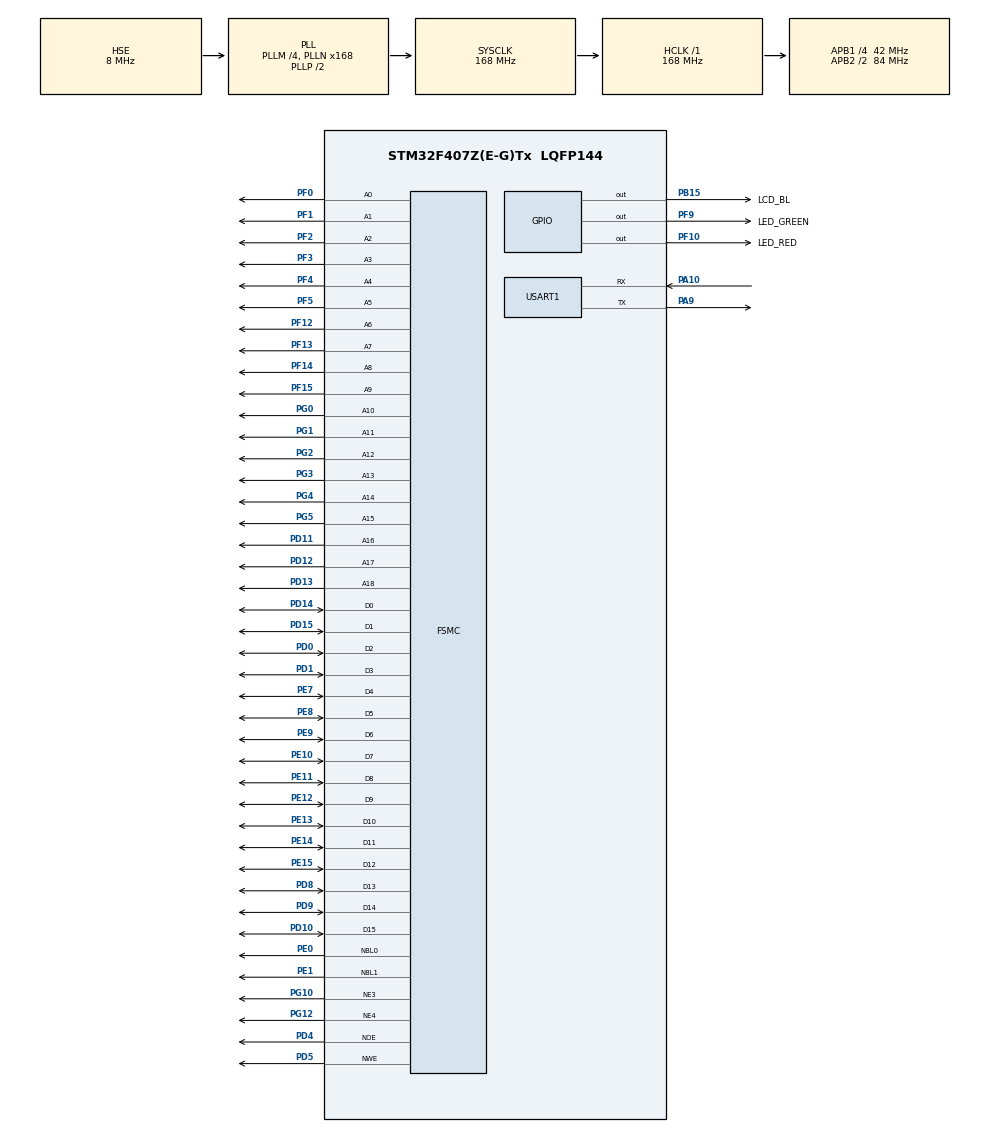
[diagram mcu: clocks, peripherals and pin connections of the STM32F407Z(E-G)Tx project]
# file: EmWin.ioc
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FSMC.AddressSetupTime3=0
FSMC.BusTurnAroundDuration3=0
FSMC.DataSetupTime3=7
FSMC.WriteOperation3=FSMC_WRITE_OPERATION_ENABLE
Mcu.Family=STM32F4
Mcu.Name=STM32F407Z(E-G)Tx
Mcu.Package=LQFP144
NVIC.PriorityGroup=NVIC_PRIORITYGROUP_4
NVIC.TIM3_IRQn=true\:0\:0\:false\:false\:true\:true\:true
NVIC.TIM4_IRQn=true\:0\:0\:false\:false\:true\:true\:true
NVIC.USART1_IRQn=true\:0\:0\:false\:false\:true\:true\:true
PA10.Mode=Asynchronous
PA10.Signal=USART1_RX
PA13.Mode=Serial_Wire
PA13.Signal=SYS_JTMS-SWDIO
PA14.Mode=Serial_Wire
PA14.Signal=SYS_JTCK-SWCLK
PA9.Mode=Asynchronous
PA9.Signal=USART1_TX
PB15.GPIO_Label=LCD_BL
PB15.GPIO_PuPd=GPIO_PULLUP
PB15.GPIO_Speed=GPIO_SPEED_FREQ_HIGH
PB15.PinState=GPIO_PIN_RESET
PB15.Signal=GPIO_Output
PC14-OSC32_IN.Mode=LSE-External-Oscillator
PC14-OSC32_IN.Signal=RCC_OSC32_IN
PC15-OSC32_OUT.Mode=LSE-External-Oscillator
PC15-OSC32_OUT.Signal=RCC_OSC32_OUT
PD0.Signal=FSMC_D2_DA2
PD1.Signal=FSMC_D3_DA3
PD10.Signal=FSMC_D15_DA15
PD11.Signal=FSMC_A16_CLE
PD12.Signal=FSMC_A17_ALE
PD13.Signal=FSMC_A18
PD14.Signal=FSMC_D0_DA0
PD15.Signal=FSMC_D1_DA1
PD4.Signal=FSMC_NOE
PD5.Signal=FSMC_NWE
PD8.Signal=FSMC_D13_DA13
PD9.Signal=FSMC_D14_DA14
PE0.Signal=FSMC_NBL0
PE1.Signal=FSMC_NBL1
PE10.Signal=FSMC_D7_DA7
PE11.Signal=FSMC_D8_DA8
PE12.Signal=FSMC_D9_DA9
PE13.Signal=FSMC_D10_DA10
PE14.Signal=FSMC_D11_DA11
PE15.Signal=FSMC_D12_DA12
PE7.Signal=FSMC_D4_DA4
PE8.Signal=FSMC_D5_DA5
PE9.Signal=FSMC_D6_DA6
PF0.Signal=FSMC_A0
PF1.Signal=FSMC_A1
PF10.GPIO_Label=LED_RED
PF10.GPIO_PuPd=GPIO_PULLUP
PF10.GPIO_Speed=GPIO_SPEED_FREQ_HIGH
PF10.PinState=GPIO_PIN_SET
PF10.Signal=GPIO_Output
PF12.Signal=FSMC_A6
PF13.Signal=FSMC_A7
PF14.Signal=FSMC_A8
PF15.Signal=FSMC_A9
PF2.Signal=FSMC_A2
PF3.Signal=FSMC_A3
PF4.Signal=FSMC_A4
PF5.Signal=FSMC_A5
PF9.GPIO_Label=LED_GREEN
PF9.GPIO_PuPd=GPIO_PULLUP
PF9.GPIO_Speed=GPIO_SPEED_FREQ_HIGH
PF9.PinState=GPIO_PIN_SET
PF9.Signal=GPIO_Output
PG0.Signal=FSMC_A10
PG1.Signal=FSMC_A11
PG10.Mode=NorPsramChipSelect3_3
PG10.Signal=FSMC_NE3
PG12.Mode=NorPsramChipSelect4_1
PG12.Signal=FSMC_NE4
PG2.Signal=FSMC_A12
PG3.Signal=FSMC_A13
PG4.Signal=FSMC_A14
PG5.Signal=FSMC_A15
PH0-OSC_IN.Mode=HSE-External-Oscillator
PH0-OSC_IN.Signal=RCC_OSC_IN
PH1-OSC_OUT.Mode=HSE-External-Oscillator
PH1-OSC_OUT.Signal=RCC_OSC_OUT
ProjectManager.HeapSize=0x200
ProjectManager.StackSize=0x400
ProjectManager.TargetToolchain=MDK-ARM V5
RCC.48MHZClocksFreq_Value=84000000
RCC.AHBFreq_Value=168000000
RCC.APB1CLKDivider=RCC_HCLK_DIV4
RCC.APB1Freq_Value=42000000
RCC.APB1TimFreq_Value=84000000
RCC.APB2CLKDivider=RCC_HCLK_DIV2
RCC.APB2Freq_Value=84000000
RCC.APB2TimFreq_Value=168000000
RCC.CortexFreq_Value=168000000
RCC.HCLKFreq_Value=168000000
RCC.HSE_VALUE=8000000
RCC.HSI_VALUE=16000000
RCC.PLLM=4
RCC.PLLN=168
RCC.PLLSourceVirtual=RCC_PLLSOURCE_HSE
RCC.SYSCLKFreq_VALUE=168000000
RCC.SYSCLKSource=RCC_SYSCLKSOURCE_PLLCLK
RCC.VCOOutputFreq_Value=336000000
SH.FSMC_A0.0=FSMC_A0,19b-a3
SH.FSMC_A1.0=FSMC_A1,19b-a3
SH.FSMC_A10.0=FSMC_A10,19b-a3
SH.FSMC_A11.0=FSMC_A11,19b-a3
SH.FSMC_A12.0=FSMC_A12,19b-a3
SH.FSMC_A13.0=FSMC_A13,19b-a3
SH.FSMC_A14.0=FSMC_A14,19b-a3
SH.FSMC_A15.0=FSMC_A15,19b-a3
SH.FSMC_A16_CLE.0=FSMC_A16,19b-a3
SH.FSMC_A17_ALE.0=FSMC_A17,19b-a3
SH.FSMC_A18.0=FSMC_A18,19b-a3
SH.FSMC_A2.0=FSMC_A2,19b-a3
SH.FSMC_A3.0=FSMC_A3,19b-a3
SH.FSMC_A4.0=FSMC_A4,19b-a3
SH.FSMC_A5.0=FSMC_A5,19b-a3
SH.FSMC_A6.0=FSMC_A6,A6_1
SH.FSMC_A6.1=FSMC_A6,19b-a3
SH.FSMC_A7.0=FSMC_A7,19b-a3
SH.FSMC_A8.0=FSMC_A8,19b-a3
SH.FSMC_A9.0=FSMC_A9,19b-a3
SH.FSMC_D0_DA0.0=FSMC_D0,16b-d1
SH.FSMC_D0_DA0.1=FSMC_D0,16b-d3
SH.FSMC_D10_DA10.0=FSMC_D10,16b-d1
SH.FSMC_D10_DA10.1=FSMC_D10,16b-d3
SH.FSMC_D11_DA11.0=FSMC_D11,16b-d1
SH.FSMC_D11_DA11.1=FSMC_D11,16b-d3
SH.FSMC_D12_DA12.0=FSMC_D12,16b-d1
SH.FSMC_D12_DA12.1=FSMC_D12,16b-d3
SH.FSMC_D13_DA13.0=FSMC_D13,16b-d1
SH.FSMC_D13_DA13.1=FSMC_D13,16b-d3
SH.FSMC_D14_DA14.0=FSMC_D14,16b-d1
SH.FSMC_D14_DA14.1=FSMC_D14,16b-d3
SH.FSMC_D15_DA15.0=FSMC_D15,16b-d1
SH.FSMC_D15_DA15.1=FSMC_D15,16b-d3
SH.FSMC_D1_DA1.0=FSMC_D1,16b-d1
SH.FSMC_D1_DA1.1=FSMC_D1,16b-d3
SH.FSMC_D2_DA2.0=FSMC_D2,16b-d1
SH.FSMC_D2_DA2.1=FSMC_D2,16b-d3
SH.FSMC_D3_DA3.0=FSMC_D3,16b-d1
SH.FSMC_D3_DA3.1=FSMC_D3,16b-d3
SH.FSMC_D4_DA4.0=FSMC_D4,16b-d1
SH.FSMC_D4_DA4.1=FSMC_D4,16b-d3
SH.FSMC_D5_DA5.0=FSMC_D5,16b-d1
SH.FSMC_D5_DA5.1=FSMC_D5,16b-d3
SH.FSMC_D6_DA6.0=FSMC_D6,16b-d1
SH.FSMC_D6_DA6.1=FSMC_D6,16b-d3
SH.FSMC_D7_DA7.0=FSMC_D7,16b-d1
SH.FSMC_D7_DA7.1=FSMC_D7,16b-d3
SH.FSMC_D8_DA8.0=FSMC_D8,16b-d1
SH.FSMC_D8_DA8.1=FSMC_D8,16b-d3
SH.FSMC_D9_DA9.0=FSMC_D9,16b-d1
SH.FSMC_D9_DA9.1=FSMC_D9,16b-d3
SH.FSMC_NBL0.0=FSMC_NBL0,2ByteEnable3
SH.FSMC_NBL1.0=FSMC_NBL1,2ByteEnable3
SH.FSMC_NOE.0=FSMC_NOE,Lcd1
SH.FSMC_NOE.1=FSMC_NOE,Sram3
SH.FSMC_NWE.0=FSMC_NWE,Lcd1
SH.FSMC_NWE.1=FSMC_NWE,Sram3
TIM3.Period=1000-1
TIM3.Prescaler=84-1
TIM4.Period=1000-1
TIM4.Prescaler=839-1
TIM7.Period=1
TIM7.Prescaler=84-1
USART1.VirtualMode=VM_ASYNC
VP_CRC_VS_CRC.Mode=CRC_Activate
VP_TIM3_VS_ClockSourceINT.Mode=Internal
VP_TIM4_VS_ClockSourceINT.Mode=Internal
VP_TIM7_VS_ClockSourceINT.Mode=Enable_Timer
board=custom

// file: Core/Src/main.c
/* USER CODE BEGIN Header */
/**
  ******************************************************************************
  * @file           : main.c
  * @brief          : Main program body
  ******************************************************************************
  * @attention
  *
  * <h2><center>&copy; Copyright (c) 2020 STMicroelectronics.
  * All rights reserved.</center></h2>
  *
  * This software component is licensed by ST under BSD 3-Clause license,
  * the "License"; You may not use this file except in compliance with the
  * License. You may obtain a copy of the License at:
  *                        opensource.org/licenses/BSD-3-Clause
  *
  ******************************************************************************
  */
/* USER CODE END Header */
#include "main.h"
#include "crc.h"
#include "tim.h"
#include "usart.h"
#include "gpio.h"
#include "fsmc.h"

/* USER CODE BEGIN Includes */
#include "GUI.h"
#include "GUIDemo.h"

#include "ILI93xx.h"	//引用LCD的头文件
#include "delay.h"
#include "touch.h"
#include "sram.h"
#include "malloc.h"
/* USER CODE END Includes */

void SystemClock_Config(void);

/* USER CODE BEGIN 0 */
//宏定义SRAM的映射地址以及SRAM的大小
//#define EXT_SRAM_ADDR  	    ((uint32_t)0x68000000)
//#define EXT_SRAM_SIZE				(1 * 1024 * 1024)
//uint32_t bsp_TestExtSRAM(void);	//这个是SRAM的测试函数
///* 绝对定位方式访问 SDRAM,这种方式必须定义成全局变量 */
//uint8_t testValue __attribute__((at(EXT_SRAM_ADDR)));

//定时器变量
extern __IO int32_t OS_TimeMS;

//重定向printf到串口1
#if 1
#include <stdio.h>

int fputc(int ch, FILE *stream)
{
    /* 堵塞判断串口是否发送完成 */
    while((USART1->SR & 0X40) == 0);

    /* 串口发送完成，将该字符发送 */
    USART1->DR = (uint8_t) ch;

    return ch;
}
#endif

//定时器中断
void HAL_TIM_PeriodElapsedCallback(TIM_HandleTypeDef*htim)
{
	//TIM3
	if(htim->Instance == TIM3)
	{
		OS_TimeMS++;
	}
	//TIM4
	if(htim->Instance == TIM4)
	{
		GUI_TOUCH_Exec();
	}
}

//GUI触摸屏测试函数
void Mytouch_MainTask(void)
{
	GUI_PID_STATE TouchState;
	int	xPhys;
	int yPhys;
	GUI_Init();
	GUI_SetFont(&GUI_Font20_ASCII);
	GUI_CURSOR_Show();
	GUI_CURSOR_Select(&GUI_CursorCrossL);
	GUI_SetBkColor(GUI_WHITE);
	GUI_SetColor(GUI_BLACK);
	GUI_Clear();
	GUI_DispString("");
	while(1)
	{
		GUI_TOUCH_GetState(&TouchState);
		xPhys = GUI_TOUCH_GetxPhys();
		yPhys = GUI_TOUCH_GetyPhys();
		GUI_SetColor(GUI_BLUE);
		GUI_DispStringAt("Analog input:\n",0,40);
		GUI_GotoY(GUI_GetDispPosY()+2);
		GUI_DispString("x:");
		GUI_DispDec(xPhys,4);
		GUI_DispString(",y:");
		GUI_DispDec(yPhys,4);
		GUI_SetColor(GUI_RED);
		GUI_GotoY(GUI_GetDispPosY()+4);
		GUI_DispString("\nPosition:\n");
		GUI_GotoY(GUI_GetDispPosY()+2);
		GUI_DispString("x:");
		GUI_DispDec(TouchState.x,4);
		GUI_DispString(",y:");
		GUI_DispDec(TouchState.y,4);
		delay_ms(50);
	}
}

/* USER CODE END 0 */

int main(void)
{

  /* MCU Configuration--------------------------------------------------------*/

  /* Reset of all peripherals, Initializes the Flash interface and the Systick. */
  HAL_Init();

  /* Configure the system clock */
  SystemClock_Config();

  /* Initialize all configured peripherals */
  MX_GPIO_Init();
  MX_CRC_Init();
  MX_FSMC_Init();
  MX_USART1_UART_Init();
  MX_TIM7_Init();
  MX_TIM3_Init();
  MX_TIM4_Init();
  /* USER CODE BEGIN 2 */
	TFTLCD_Init();	//初始化LCD,这个必须放在FSMC
	tp_dev.init();				//触摸屏初始化
	HAL_TIM_Base_Start_IT(&htim3);//这两个中断必须在触摸屏初始化后面
	HAL_TIM_Base_Start_IT(&htim4);//启用这两个定时器的中断

	GUI_Init();
	GUIDEMO_Main();

  /* USER CODE END 2 */

  /* Infinite loop */
  while (1)
  {

  }
}

void SystemClock_Config(void)
{
  RCC_OscInitTypeDef RCC_OscInitStruct = {0};
  RCC_ClkInitTypeDef RCC_ClkInitStruct = {0};

  /** Configure the main internal regulator output voltage
  */
  __HAL_RCC_PWR_CLK_ENABLE();
  __HAL_PWR_VOLTAGESCALING_CONFIG(PWR_REGULATOR_VOLTAGE_SCALE1);
  /** Initializes the RCC Oscillators according to the specified parameters
  * in the RCC_OscInitTypeDef structure.
  */
  RCC_OscInitStruct.OscillatorType = RCC_OSCILLATORTYPE_HSE;
  RCC_OscInitStruct.HSEState = RCC_HSE_ON;
  RCC_OscInitStruct.PLL.PLLState = RCC_PLL_ON;
  RCC_OscInitStruct.PLL.PLLSource = RCC_PLLSOURCE_HSE;
  RCC_OscInitStruct.PLL.PLLM = 4;
  RCC_OscInitStruct.PLL.PLLN = 168;
  RCC_OscInitStruct.PLL.PLLP = RCC_PLLP_DIV2;
  RCC_OscInitStruct.PLL.PLLQ = 4;
  if (HAL_RCC_OscConfig(&RCC_OscInitStruct) != HAL_OK)
  {
    Error_Handler();
  }
  /** Initializes the CPU, AHB and APB buses clocks
  */
  RCC_ClkInitStruct.ClockType = RCC_CLOCKTYPE_HCLK|RCC_CLOCKTYPE_SYSCLK
                              |RCC_CLOCKTYPE_PCLK1|RCC_CLOCKTYPE_PCLK2;
  RCC_ClkInitStruct.SYSCLKSource = RCC_SYSCLKSOURCE_PLLCLK;
  RCC_ClkInitStruct.AHBCLKDivider = RCC_SYSCLK_DIV1;
  RCC_ClkInitStruct.APB1CLKDivider = RCC_HCLK_DIV4;
  RCC_ClkInitStruct.APB2CLKDivider = RCC_HCLK_DIV2;

  if (HAL_RCC_ClockConfig(&RCC_ClkInitStruct, FLASH_LATENCY_5) != HAL_OK)
  {
    Error_Handler();
  }
}

/* USER CODE BEGIN 4 */
/*
*********************************************************************************************************
*	函 数 名: bsp_TestExtSRAM
*	功能说明: 扫描测试外部SRAM的全部单元。
*	形    参: 无
*	返 回 值: 0 表示测试通过； 大于0表示错误单元的个数。
*********************************************************************************************************
*/
//uint32_t bsp_TestExtSRAM(void)
//{
//	uint32_t i;
//	uint32_t *pSRAM;
//	uint8_t *pBytes;
//	uint32_t err;
//	const uint8_t ByteBuf[4] = {0x55, 0xA5, 0x5A, 0xAA};
//
//	/* 写SRAM */
//	pSRAM = (uint32_t *)EXT_SRAM_ADDR;
//	for (i = 0; i < EXT_SRAM_SIZE / 4; i++)
//	{
//		*pSRAM++ = i;
//	}
//
//	/* 读SRAM */
//	err = 0;
//	pSRAM = (uint32_t *)EXT_SRAM_ADDR;
//	for (i = 0; i < EXT_SRAM_SIZE / 4; i++)
//	{
//		if (*pSRAM++ != i)
//		{
//			err++;
//		}
//	}
//	printf("SDRAM check round 1 error = %d\n", err);
//	if (err > 0)
//	{
//		return (4 * err);
//	}

//	#if 1
//	/* 对SRAM 的数据求反并写入 */
//	pSRAM = (uint32_t *)EXT_SRAM_ADDR;
//	for (i = 0; i < EXT_SRAM_SIZE/4; i++)
//	{
//		*pSRAM = ~*pSRAM;
//		pSRAM++;
//	}

//	/* 再次比较SRAM的数据 */
//	err = 0;
//	pSRAM = (uint32_t *)EXT_SRAM_ADDR;
//	for (i = 0; i<EXT_SRAM_SIZE/4;i++)
//	{
//		if (*pSRAM++ != (~i))
//		{
//			err++;
//		}
//	}

//	printf("SDRAM check round 2 error = %d\n", err);
//	if (err>0)
//	{
//	return (4 * err);
//	}
//	#endif

//	/* 测试按字节方式访问, 目的是验证 FSMC_NBL0 、 FSMC_NBL1 口线 */
//	pBytes = (uint8_t *)EXT_SRAM_ADDR;
//	for (i = 0; i < sizeof(ByteBuf); i++)
//	{
//		*pBytes++ = ByteBuf[i];
//	}

//	/* 比较SRAM的数据 */
//	err = 0;
//	pBytes = (uint8_t *)EXT_SRAM_ADDR;
//	for (i = 0; i < sizeof(ByteBuf); i++)
//	{
//		if (*pBytes++ != ByteBuf[i])
//		{
//			err++;
//		}
//	}
//	printf("SDRAM check round 3 error = %d\n", err);
//	if (err > 0)
//	{
//		return err;
//	}
//	return 0;
//}
/* USER CODE END 4 */

void Error_Handler(void)
{
}

/************************ (C) COPYRIGHT STMicroelectronics *****END OF FILE****/
